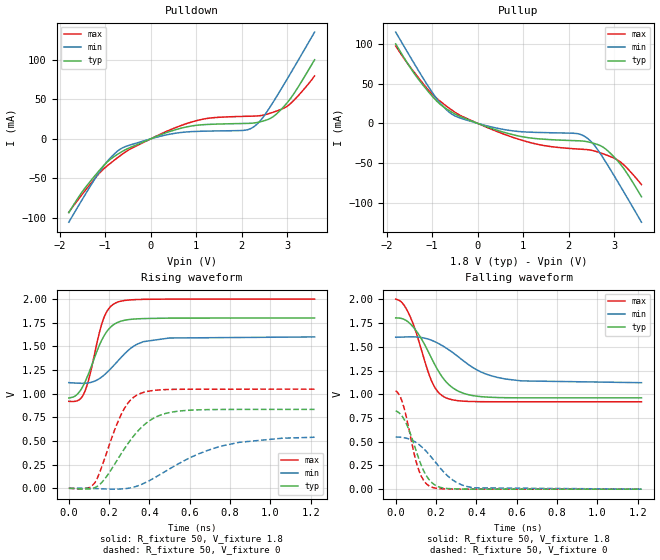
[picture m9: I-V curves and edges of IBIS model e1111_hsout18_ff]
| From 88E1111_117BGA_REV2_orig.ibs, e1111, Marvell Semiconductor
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|   Model e1111_hsout18_ff
[Model]   e1111_hsout18_ff
Model_type   Output
Polarity   Non-Inverting
Enable   Active-High
Vmeas =   0.9000V
Cref =  5.0000pF
Rref =  50.0000
Vref =   0.9000V
|   Typ   Min   Max
C_comp   1.233p   1.159p   1.275p
[Temperature Range]   25   125   0
[Voltage Range]   1.800   1.600   2.000
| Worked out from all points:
|   slope of the pulldown table from 0 to 0.27 V, typ, clamps not added: 43.1 ohm
|   slope of the pullup table from 0 to 0.27 V, typ, clamps not added: 47.7 ohm
|   rising waveform, R_fixture 50, V_fixture 1.8: 20-80 % time 100ps typ, 139ps min, 74ps max; typ from 0.954 V to 1.8 V
|   falling waveform, R_fixture 50, V_fixture 1.8: 20-80 % time 138ps typ, 205ps min, 101ps max; typ from 1.8 V to 0.962 V
|   rising waveform, R_fixture 50, V_fixture 0: 20-80 % time 171ps typ, 311ps min, 114ps max; typ from -0.001 V to 0.833 V
|   falling waveform, R_fixture 50, V_fixture 0: 20-80 % time 86.9ps typ, 142ps min, 68.7ps max; typ from 0.826 V to 0 V
[Pullup]
|   I(typ)   I(min)   I(max)
-1.8V     100.2mA    115mA      97.6mA
-1.069V   38.98mA    45.23mA    41.16mA
-787.5mV  22.47mA    23.32mA    26.28mA
-506.2mV  12.05mA    9.569mA    14.33mA
337.5mV   -6.983mA   -4.99mA    -8.262mA
1.069V    -17.7mA    -10.93mA   -22.9mA
2.138V    -21.83mA   -12.62mA   -32.12mA
2.419V    -23.27mA   -19.13mA   -33.23mA
2.756V    -30.01mA   -43.41mA   -38.39mA
2.981V    -41.42mA   -64.27mA   -43.42mA
3.206V    -56.61mA   -85.92mA   -52.06mA
3.6V      -92.55mA   -124.6mA   -77.14mA
[Pulldown]
|   I(typ)   I(min)   I(max)
-1.8V     -93.13mA   -105.1mA   -92.52mA
-1.462V   -63.44mA   -72.4mA    -66.8mA
-1.069V   -35.91mA   -36.89mA   -39.79mA
-618.8mV  -15.67mA   -11.3mA    -19.12mA
281.2mV   6.5mA      4.226mA    7.733mA
956.3mV   16.73mA    9.254mA    22.17mA
2.025V    19.35mA    10.6mA     28.31mA
2.306V    20.3mA     17mA       28.75mA
2.644V    26.26mA    42.13mA    32.66mA
2.925V    40.75mA    68.43mA    38.71mA
3.206V    62.35mA    95.73mA    52.21mA
3.6V      99.73mA    134.6mA    79.38mA
[Ramp]
| variable   typ   min   max
dV/dt_r   0.506/172.33p   0.332/319.00p   0.634/114.28p
dV/dt_f   0.506/137.97p   0.290/206.84p   0.650/100.71p
R_load  =   50
[Rising Waveform]
R_fixture = 50
V_fixture = 1.8
V_fixture_min = 1.6
V_fixture_max = 2
|   V(typ)   V(min)   V(max)
0s        954.2mV    1.116V     918.6mV
41ps      991mV      1.111V     923.8mV
74ps      1.095V     1.11V      996.8mV
99ps      1.217V     1.114V     1.152V
173ps     1.604V     1.193V     1.797V
199ps     1.685V     1.245V     1.901V
238ps     1.749V     1.333V     1.965V
340ps     1.791V     1.524V     1.995V
498ps     1.799V     1.588V     2V
1.219ns   1.8V       1.6V       2V
[Falling Waveform]
R_fixture = 50
V_fixture = 1.8
V_fixture_min = 1.6
V_fixture_max = 2
|   V(typ)   V(min)   V(max)
0s        1.805V     1.601V     2.003V
42ps      1.789V     1.603V     1.937V
92ps      1.695V     1.604V     1.709V
181ps     1.366V     1.566V     1.126V
211ps     1.247V     1.536V     1.022V
251ps     1.129V     1.486V     961.1mV
347ps     1.003V     1.335V     926.1mV
444ps     971.5mV    1.216V     921.5mV
544ps     963.9mV    1.161V     921mV
1.219ns   962mV      1.122V     921mV
[Rising Waveform]
R_fixture = 50
V_fixture = 0
V_fixture_min = 0
V_fixture_max = 0
|   V(typ)   V(min)   V(max)
0s        -898.2uV   241.8uV    228.9uV
68ps      -9.295mV   -247.2uV   -8.8mV
128ps     5.465mV    -3.401mV   54.76mV
177ps     95.35mV    -7.171mV   308.8mV
264ps     378.9mV    -7.383mV   797.9mV
304ps     503.8mV    2.897mV    927.3mV
361ps     645.5mV    41.25mV    1.007V
492ps     797mV      195.1mV    1.044V
764ps     832.7mV    449.2mV    1.047V
1.219ns   833.4mV    539.1mV    1.047V
[Falling Waveform]
R_fixture = 50
V_fixture = 0
V_fixture_min = 0
V_fixture_max = 0
|   V(typ)   V(min)   V(max)
0s        825.9mV    549.7mV    1.037V
21ps      795.9mV    547.5mV    980.4mV
41ps      738.9mV    542.1mV    860mV
96ps      439.1mV    498.8mV    334.3mV
116ps     313.1mV    469.2mV    192.1mV
146ps     164.2mV    410.8mV    71.94mV
181ps     65.78mV    326.6mV    19.22mV
284ps     3.7mV      95.19mV    904.7uV
384ps     532.4uV    14.45mV    92.2uV
1.219ns   69uV       104.3uV    55.15uV
